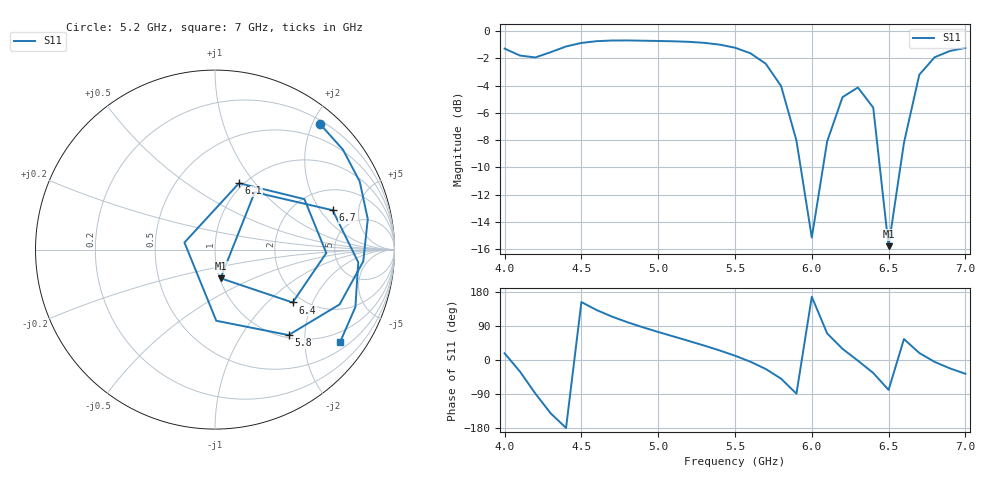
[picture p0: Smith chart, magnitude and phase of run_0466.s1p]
! Touchstone file exported from HFSS 2024.2.0
!  File:  C:/Users/wsak9/Desktop/Sim Fast/Widenad Patch/WP_AI_V1_sweep.aedt
!  Generated:  11:22:19 AM Oct 14, 2026
!  Design:  A1_model
!  Project:  WP_AI_V1_sweep
!  Setup:  Setup1
!  Solution:  Sweep
! Variables:
!  Air_gap = 4.22mm
!  Curve_Amp1 = 3.22
!  Curve_len1 = 1
!  Curve_pos = 9.98mm
!  Extra = 6.41mm
!  H_sub = 0.79mm
!  L_Patch = 15.96mm
!  L_Patch1 = 15.52mm
!  Sx = 0.39mm
!  Sy = 1.1mm
!  WS = 0.3mm
!  W_Patch = 13.78mm
!  W_Patch1 = 9.11mm
!Data is not renormalized
# GHz S MA
! Terminal data exported
! Port[1] = 1
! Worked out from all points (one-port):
!   31 points, 4 GHz to 7 GHz, reference per port
!   lowest |S11| = -15.8 dB at 6.5 GHz (marker M1), VSWR 1.39
!   |S11| at or under -10 dB: 5.928 GHz to 6.073 GHz (145.5 MHz wide, 2.42 % of centre); 6.443 GHz to 6.576 GHz (133.2 MHz wide, 2.05 % of centre)
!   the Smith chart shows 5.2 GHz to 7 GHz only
!   S11 on the Smith chart (normalised r, x): 5.2 GHz: 0.25, +2.11; 5.8 GHz: 1.05, -1.66; 6.1 GHz: 0.95, +0.83; 6.4 GHz: 1.78, -1.44; 6.7 GHz: 3.13, +2.63; 7 GHz: 0.70, -2.89
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4  0.8616 17.7
4.1  0.8126 -30.5
4.2  0.7998 -88.5
4.3  0.836 -140.8
4.4  0.8773 -179.3
4.5  0.9039 152.9
4.6  0.9175 131.7
4.7  0.9227 114.4
4.8  0.923 99.6
5  0.919 74.0
5.2  0.9123 50.2
5.4  0.8911 25.2
5.5  0.8681 11.3
5.6  0.8286 -4.5
5.7  0.7585 -23.7
5.8  0.6283 -49.3
5.9  0.3964 -89.0
6  0.1747 167.0
6.1  0.3935 70.1
6.2  0.572 29.4
6.3  0.6205 -1.8
6.4  0.5235 -34.3
6.5  0.1625 -78.9
6.6  0.3888 55.3
6.7  0.6912 18.5
6.8  0.8013 -5.1
6.9  0.845 -22.2
7  0.8664 -36.3
